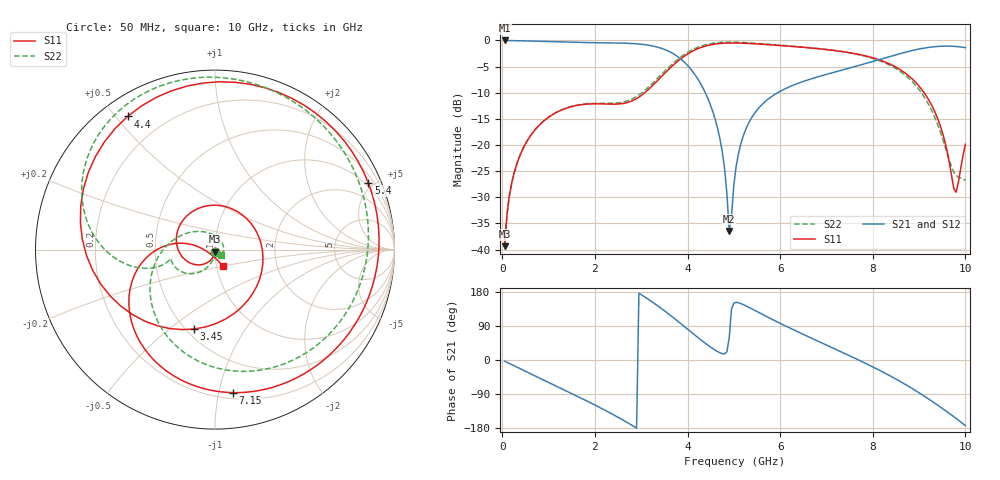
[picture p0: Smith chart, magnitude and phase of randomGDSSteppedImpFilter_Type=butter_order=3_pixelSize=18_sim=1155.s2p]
! freq	dB(S11)	phase(S11)	dB(S12)	phase(S12)
!  dB(S21)	phase(S21)	dB(S22)	phase(S22)
!S-par simulation data
#  GHz  S  DB  R 50
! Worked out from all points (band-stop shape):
!   200 points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, 50 MHz to 10 GHz, reference 50 ohm
!   highest |S21| = -0.01 dB at 50 MHz (marker M1); lowest = -36.4 dB at 4.9 GHz (marker M2)
!   |S21| within 3 dB of the highest: start of sweep to 3.773 GHz; 8.396 GHz to end of sweep
!   lowest |S11| = -39.3 dB at 50 MHz (marker M3), VSWR 1.02, Z = 49.9 - j1.08 ohm
!   |S11| at or under -10 dB: start of sweep to 3.075 GHz; 9.109 GHz to end of sweep
!   |S22| runs from -39.3 to -0.3 dB; largest |S21 - S12| = 0
!   S11 on the Smith chart (normalised r, x): 50 MHz: 1.00, -0.02; 3.45 GHz: 0.55, -0.61; 4.4 GHz: 0.08, +0.54; 5.4 GHz: 0.83, +4.67; 7.15 GHz: 0.25, -1.11; 10 GHz: 1.07, -0.20
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0.05  -39.34 -93.6  -0.01 -3.0  -0.01 -3.0  -39.30 -92.0
0.2  -27.44 -104.8  -0.03 -12.0  -0.03 -12.0  -27.41 -98.8
0.5  -19.77 -127.8  -0.09 -29.7  -0.09 -29.7  -19.75 -112.5
1.15  -13.87 -177.8  -0.27 -68.0  -0.27 -68.0  -13.83 -139.3
1.75  -12.24 130.8  -0.40 -103.6  -0.40 -103.6  -12.18 -159.0
2.7  -11.88 15.4  -0.54 -165.1  -0.54 -165.1  -11.55 -166.5
3.4  -7.24 -97.1  -1.40 139.1  -1.40 139.1  -6.82 -167.7
3.45  -6.79 -104.8  -1.55 134.6  -1.55 134.6  -6.37 -169.2
4  -2.60 175.6  -4.77 81.4  -4.77 81.4  -2.29 162.6
4.4  -1.04 123.3  -10.32 42.7  -10.32 42.7  -0.80 135.2
4.75  -0.55 83.2  -21.27 16.7  -21.27 16.7  -0.36 111.5
4.9  -0.49 67.9  -36.43 58.1  -36.43 58.1  -0.32 101.8
5.05  -0.49 53.5  -24.07 152.2  -24.07 152.2  -0.34 92.5
5.4  -0.62 23.5  -14.55 134.2  -14.55 134.2  -0.50 71.5
5.95  -0.94 -15.9  -9.97 99.8  -9.97 99.8  -0.87 40.0
6.7  -1.48 -59.7  -7.27 56.2  -7.27 56.2  -1.44 -3.1
7.15  -1.90 -82.7  -6.12 31.0  -6.12 31.0  -1.90 -29.9
7.8  -2.87 -114.5  -4.53 -6.2  -4.53 -6.2  -2.94 -71.1
8.35  -4.44 -142.0  -3.12 -40.2  -3.12 -40.2  -4.66 -110.4
9.25  -12.03 173.2  -1.28 -106.5  -1.28 -106.5  -13.01 162.8
9.8  -29.02 -119.7  -1.16 -154.2  -1.16 -154.2  -25.83 27.5
10  -19.87 -64.9  -1.38 -173.2  -1.38 -173.2  -26.77 -45.0
